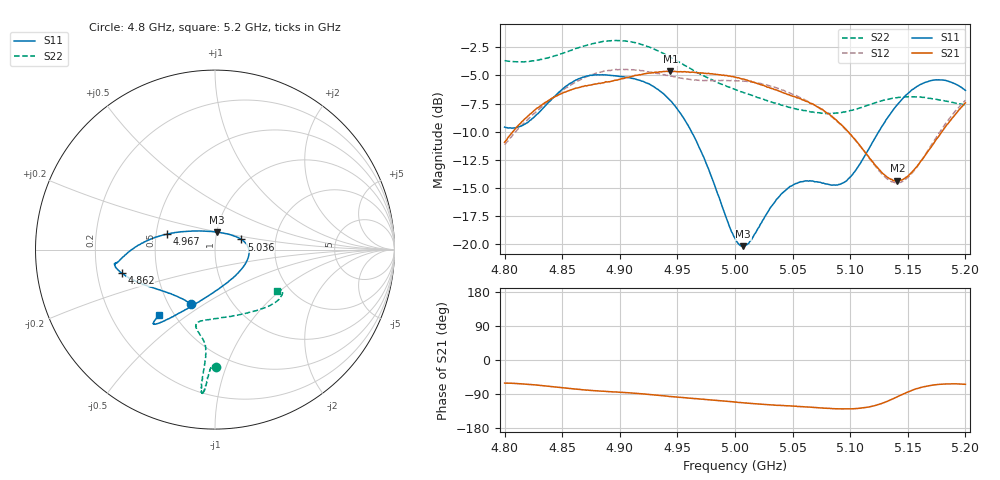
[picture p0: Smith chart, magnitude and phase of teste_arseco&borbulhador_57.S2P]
! Network Analyzer HP8722D
! Hewlett-Packard
! Data name: Linha & Wilkinson
! Saver's name: Rodrigo Anjos
! Comments: Teste da utilização de aquisição
! continua pelo VNA HP8722D
! Time and date: 15/4/2025 16:06
!  Frequency  S11  S21  S12  S22
# HZ  S  MA R 50
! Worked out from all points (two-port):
!   401 points, 4.8 GHz to 5.2 GHz, reference 50 ohm
!   highest |S21| = -4.63 dB at 4.944 GHz (marker M1); lowest = -14.4 dB at 5.141 GHz (marker M2)
!   |S21| within 3 dB of the highest: 4.832 GHz to 5.069 GHz (236.9 MHz wide, 4.79 % of centre); 5.198245 GHz to end of sweep
!   lowest |S11| = -20.2 dB at 5.007 GHz (marker M3), VSWR 1.22, Z = 50.3 + j9.86 ohm
!   |S11| at or under -10 dB: 4.962 GHz to 5.125 GHz (162.6 MHz wide, 3.22 % of centre)
!   |S22| runs from -8.4 to -1.9 dB; largest |S21 - S12| = 0.88
!   S11 on the Smith chart (normalised r, x): 4.8 GHz: 0.65, -0.44; 4.862 GHz: 0.31, -0.11; 4.967 GHz: 0.57, +0.11; 5.036 GHz: 1.34, +0.16; 5.2 GHz: 0.41, -0.39
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4.8e9  0.3313 -113.9  0.2837 -61.0  0.2766 -175.2  0.6538 -89.6
4.819e9  0.3453 -133.7  0.3657 -63.8  0.3534 -173.4  0.6484 -91.2
4.862e9  0.5369 -165.9  0.494 -76.7  0.5286 -176.6  0.7415 -93.5
4.867e9  0.5493 -167.8  0.5015 -78.2  0.5426 -177.5  0.755 -93.8
4.9e9  0.5565 -172.4  0.54 -85.0  0.5973 175.8  0.8031 -95.2
4.934e9  0.4833 -178.3  0.5826 -93.6  0.5735 171.8  0.7189 -95.6
4.944e9  0.4342 177.3  0.5865 -96.2  0.5577 171.8  0.6775 -95.4
4.967e9  0.2831 162.4  0.5779 -102.1  0.5357 173.9  0.5797 -95.0
5e9  0.1062 106.5  0.5522 -111.1  0.532 176.2  0.4869 -99.4
5.007e9  0.09792 82.6  0.5418 -112.8  0.5305 176.5  0.4729 -100.9
5.013e9  0.1031 63.3  0.5303 -114.5  0.5262 176.0  0.4612 -102.2
5.036e9  0.158 21.1  0.4846 -119.5  0.495 175.0  0.4209 -103.7
5.05e9  0.1825 6.6  0.4549 -121.6  0.463 174.4  0.4036 -100.3
5.067e9  0.1908 -11.8  0.4209 -124.7  0.4206 174.0  0.3868 -91.8
5.087e9  0.1829 -44.3  0.3588 -128.6  0.3571 173.6  0.3825 -76.9
5.097e9  0.1913 -65.3  0.3205 -129.1  0.3203 174.4  0.3888 -68.5
5.134e9  0.3742 -116.4  0.1958 -106.7  0.1917 -159.4  0.4419 -43.3
5.141e9  0.4171 -120.3  0.1912 -96.8  0.1874 -148.5  0.4481 -40.3
5.153e9  0.4822 -125.2  0.2076 -80.9  0.2049 -130.0  0.4517 -35.9
5.17e9  0.5331 -128.8  0.2687 -66.9  0.2733 -113.0  0.4445 -32.1
5.184e9  0.5321 -130.1  0.34 -63.0  0.3501 -107.4  0.4318 -31.2
5.2e9  0.4823 -130.5  0.4245 -64.1  0.4357 -106.2  0.4152 -33.4
